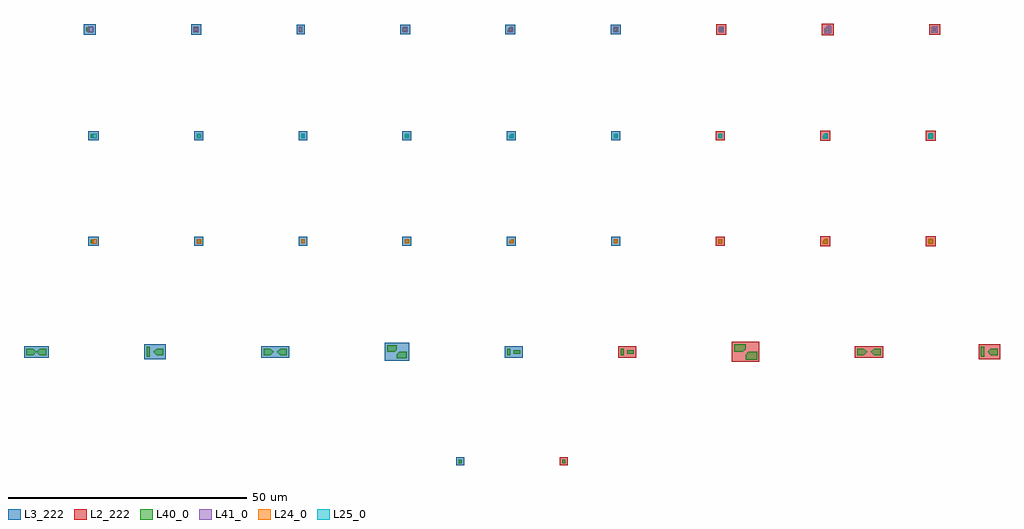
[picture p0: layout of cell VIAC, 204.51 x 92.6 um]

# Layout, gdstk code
from math import pi, radians
import gdstk
lib = gdstk.Library(unit=1e-6, precision=5e-09)
def R(c, l, rs):  # rectangles x0, y0, x1, y1
    for r in rs: c.add(gdstk.rectangle(r[:2], r[2:], *l))
def P(c, l, *ps):  # polygons
    for p in ps: c.add(gdstk.Polygon(p, *l))
L2_222 = (2, 222)
L3_222 = (3, 222)
L24_0 = (24, 0)
L25_0 = (25, 0)
L40_0 = (40, 0)
L41_0 = (41, 0)

compass_layerviac_size0p = lib.new_cell('compass_layerVIAC_size0p7__0p7')
R(compass_layerviac_size0p, L40_0, [(-0.35,-0.35,0.35,0.35)])

rectangle_layerviac_size = lib.new_cell('rectangle_layerVIAC_size0p7__0p7')
rectangle_layerviac_size.add(gdstk.Reference(compass_layerviac_size0p, (0.35,0.35)))

compass_b2efa8bb = lib.new_cell('compass_b2efa8bb')
R(compass_b2efa8bb, L2_222, [(-0.85,-0.85,0.85,0.85)])

rectangle_b2efa8bb = lib.new_cell('rectangle_b2efa8bb')
rectangle_b2efa8bb.add(gdstk.Reference(compass_b2efa8bb, (0.85,0.85)))

pass_fail_mk_ebea3c19 = lib.new_cell('pass_fail_mk_ebea3c19')
pass_fail_mk_ebea3c19.add(gdstk.Reference(rectangle_b2efa8bb, (-0.5,-0.5)))
pass_fail_mk_ebea3c19.add(gdstk.Label('viac.w.1', (-0.25,-0.25), layer=11, texttype=222))

c_compass_layerviac_size0p = lib.new_cell('compass_layerVIAC_size0p69__0p69')
R(c_compass_layerviac_size0p, L40_0, [(-0.345,-0.345,0.345,0.345)])

c_rectangle_layerviac_size = lib.new_cell('rectangle_layerVIAC_size0p69__0p69')
c_rectangle_layerviac_size.add(gdstk.Reference(c_compass_layerviac_size0p, (0.345,0.345)))

compass_bd24d7c0 = lib.new_cell('compass_bd24d7c0')
R(compass_bd24d7c0, L3_222, [(-0.845,-0.845,0.845,0.845)])

rectangle_bd24d7c0 = lib.new_cell('rectangle_bd24d7c0')
rectangle_bd24d7c0.add(gdstk.Reference(compass_bd24d7c0, (0.845,0.845)))

pass_fail_mk_7fd067dc = lib.new_cell('pass_fail_mk_7fd067dc')
pass_fail_mk_7fd067dc.add(gdstk.Reference(rectangle_bd24d7c0, (-0.5,-0.5)))
pass_fail_mk_7fd067dc.add(gdstk.Label('viac.w.1', (-0.25,-0.25), layer=11, texttype=222))

size_patterns_width0_7_l = lib.new_cell('size_patterns_width0.7_layerVIAC')
size_patterns_width0_7_l.add(gdstk.Reference(rectangle_layerviac_size, (0,0)))
size_patterns_width0_7_l.add(gdstk.Reference(pass_fail_mk_ebea3c19, (0,0)))
size_patterns_width0_7_l.add(gdstk.Reference(c_rectangle_layerviac_size, (-21.69,0.005)))
size_patterns_width0_7_l.add(gdstk.Reference(pass_fail_mk_7fd067dc, (-21.69,0.005)))

c_compass_layerviac_size0p_ = lib.new_cell('compass_layerVIAC_size0p7__1p4')
R(c_compass_layerviac_size0p_, L40_0, [(-0.35,-0.7,0.35,0.7)])

c_rectangle_layerviac_size_ = lib.new_cell('rectangle_layerVIAC_size0p7__1p4')
c_rectangle_layerviac_size_.add(gdstk.Reference(c_compass_layerviac_size0p_, (0.35,0.7)))

compass_layerviac_size1p = lib.new_cell('compass_layerVIAC_size1p4__0p7')
R(compass_layerviac_size1p, L40_0, [(-0.7,-0.35,0.7,0.35)])

c_rectangle_layerviac_size__ = lib.new_cell('rectangle_layerVIAC_size1p4__0p7')
c_rectangle_layerviac_size__.add(gdstk.Reference(compass_layerviac_size1p, (0.7,0.35)))

space_basic_spacing0_7_l = lib.new_cell('space_basic_spacing0.7_layer1VIAC_layer2VIAC')
space_basic_spacing0_7_l.add(gdstk.Reference(c_rectangle_layerviac_size_, (-0.7,1.05), rotation=pi))
space_basic_spacing0_7_l.add(gdstk.Reference(c_rectangle_layerviac_size__, (0,0)))

compass_77408f74 = lib.new_cell('compass_77408f74')
R(compass_77408f74, L2_222, [(-1.9,-1.2,1.9,1.2)])

rectangle_77408f74 = lib.new_cell('rectangle_77408f74')
rectangle_77408f74.add(gdstk.Reference(compass_77408f74, (1.9,1.2)))

pass_fail_mk_cfa4f222 = lib.new_cell('pass_fail_mk_cfa4f222')
pass_fail_mk_cfa4f222.add(gdstk.Reference(rectangle_77408f74, (-1.9,-0.85)))
pass_fail_mk_cfa4f222.add(gdstk.Label('viac.s.1', (-1.65,-0.6), layer=11, texttype=222))

space_basic_spacing0_69_ = lib.new_cell('space_basic_spacing0.69_layer1VIAC_layer2VIAC')
space_basic_spacing0_69_.add(gdstk.Reference(c_rectangle_layerviac_size_, (-0.69,1.05), rotation=pi))
space_basic_spacing0_69_.add(gdstk.Reference(c_rectangle_layerviac_size__, (0,0)))

compass_235e8b68 = lib.new_cell('compass_235e8b68')
R(compass_235e8b68, L3_222, [(-1.895,-1.2,1.895,1.2)])

rectangle_235e8b68 = lib.new_cell('rectangle_235e8b68')
rectangle_235e8b68.add(gdstk.Reference(compass_235e8b68, (1.895,1.2)))

pass_fail_mk_d93f7e09 = lib.new_cell('pass_fail_mk_d93f7e09')
pass_fail_mk_d93f7e09.add(gdstk.Reference(rectangle_235e8b68, (-1.89,-0.85)))
pass_fail_mk_d93f7e09.add(gdstk.Label('viac.s.1', (-1.64,-0.6), layer=11, texttype=222))

boolean_4434b073 = lib.new_cell('boolean_4434b073')
P(boolean_4434b073, L40_0, [(2.4,1.6),(0.57,1.6),(0,1.035),(0,0),(2.4,0)])

space_45deg_spacing0_799 = lib.new_cell('space_45deg_spacing0.7999999999999999_layer1VIAC_layer2VIAC')
space_45deg_spacing0_799.add(gdstk.Reference(boolean_4434b073, (0,0)))
space_45deg_spacing0_799.add(gdstk.Reference(boolean_4434b073, (0,3.2), rotation=pi))

compass_ca9d0b4a = lib.new_cell('compass_ca9d0b4a')
R(compass_ca9d0b4a, L2_222, [(-2.9,-2.1,2.9,2.1)])

rectangle_ca9d0b4a = lib.new_cell('rectangle_ca9d0b4a')
rectangle_ca9d0b4a.add(gdstk.Reference(compass_ca9d0b4a, (2.9,2.1)))

pass_fail_mk_ae6cd1d0 = lib.new_cell('pass_fail_mk_ae6cd1d0')
pass_fail_mk_ae6cd1d0.add(gdstk.Reference(rectangle_ca9d0b4a, (-2.9,-0.5)))
pass_fail_mk_ae6cd1d0.add(gdstk.Label('viac.s.1', (-2.65,-0.25), layer=11, texttype=222))

boolean_fdc49324 = lib.new_cell('boolean_fdc49324')
P(boolean_fdc49324, L40_0, [(2.07,1.38),(0.49,1.38),(0,0.89),(0,0),(2.07,0)])

space_45deg_spacing0_69_ = lib.new_cell('space_45deg_spacing0.69_layer1VIAC_layer2VIAC')
space_45deg_spacing0_69_.add(gdstk.Reference(boolean_fdc49324, (0,0)))
space_45deg_spacing0_69_.add(gdstk.Reference(boolean_fdc49324, (0,2.76), rotation=pi))

compass_da3c626a = lib.new_cell('compass_da3c626a')
R(compass_da3c626a, L3_222, [(-2.57,-1.88,2.57,1.88)])

rectangle_da3c626a = lib.new_cell('rectangle_da3c626a')
rectangle_da3c626a.add(gdstk.Reference(compass_da3c626a, (2.57,1.88)))

pass_fail_mk_e60b67cf = lib.new_cell('pass_fail_mk_e60b67cf')
pass_fail_mk_e60b67cf.add(gdstk.Reference(rectangle_da3c626a, (-2.57,-0.5)))
pass_fail_mk_e60b67cf.add(gdstk.Label('viac.s.1', (-2.32,-0.25), layer=11, texttype=222))

boolean_fcddbcaa = lib.new_cell('boolean_fcddbcaa')
P(boolean_fcddbcaa, L40_0, [(0,0),(1.4,0),(1.4,1.4),(0,1.4),(-0.7,0.7)])

boolean_cd065b2d = lib.new_cell('boolean_cd065b2d')
P(boolean_cd065b2d, L40_0, [(1.4,1.4),(0,1.4),(-0.7,0.7),(0,0),(1.4,0)])

space_cor2cor_spacing0_7 = lib.new_cell('space_cor2cor_spacing0.7_layer1VIAC_layer2VIAC')
space_cor2cor_spacing0_7.add(gdstk.Reference(boolean_fcddbcaa, (0,0)))
space_cor2cor_spacing0_7.add(gdstk.Reference(boolean_cd065b2d, (-2.1,1.4), rotation=pi))

compass_ff052847 = lib.new_cell('compass_ff052847')
R(compass_ff052847, L2_222, [(-2.95,-1.2,2.95,1.2)])

rectangle_ff052847 = lib.new_cell('rectangle_ff052847')
rectangle_ff052847.add(gdstk.Reference(compass_ff052847, (2.95,1.2)))

pass_fail_mk_f10998c5 = lib.new_cell('pass_fail_mk_f10998c5')
pass_fail_mk_f10998c5.add(gdstk.Reference(rectangle_ff052847, (-4,-0.5)))
pass_fail_mk_f10998c5.add(gdstk.Label('viac.s.1', (-3.75,-0.25), layer=11, texttype=222))

space_cor2cor_spacing0_6 = lib.new_cell('space_cor2cor_spacing0.69_layer1VIAC_layer2VIAC')
space_cor2cor_spacing0_6.add(gdstk.Reference(boolean_fcddbcaa, (0,0)))
space_cor2cor_spacing0_6.add(gdstk.Reference(boolean_cd065b2d, (-2.09,1.4), rotation=pi))

compass_60b5a301 = lib.new_cell('compass_60b5a301')
R(compass_60b5a301, L3_222, [(-2.945,-1.2,2.945,1.2)])

rectangle_60b5a301 = lib.new_cell('rectangle_60b5a301')
rectangle_60b5a301.add(gdstk.Reference(compass_60b5a301, (2.945,1.2)))

pass_fail_mk_9f2d06e3 = lib.new_cell('pass_fail_mk_9f2d06e3')
pass_fail_mk_9f2d06e3.add(gdstk.Reference(rectangle_60b5a301, (-3.99,-0.5)))
pass_fail_mk_9f2d06e3.add(gdstk.Label('viac.s.1', (-3.74,-0.25), layer=11, texttype=222))

c_compass_layerviac_size0p__ = lib.new_cell('compass_layerVIAC_size0p7__2p1')
R(c_compass_layerviac_size0p__, L40_0, [(-0.35,-1.05,0.35,1.05)])

c_rectangle_layerviac_size___ = lib.new_cell('rectangle_layerVIAC_size0p7__2p1')
c_rectangle_layerviac_size___.add(gdstk.Reference(c_compass_layerviac_size0p__, (0.35,1.05)))

space_cor2edge_spacing0_ = lib.new_cell('space_cor2edge_spacing0.7_layer1VIAC_layer2VIAC')
space_cor2edge_spacing0_.add(gdstk.Reference(c_rectangle_layerviac_size___, (-2.1,-0.35)))
space_cor2edge_spacing0_.add(gdstk.Reference(boolean_fcddbcaa, (0,0)))

compass_0f98536f = lib.new_cell('compass_0f98536f')
R(compass_0f98536f, L2_222, [(-2.25,-1.55,2.25,1.55)])

rectangle_0f98536f = lib.new_cell('rectangle_0f98536f')
rectangle_0f98536f.add(gdstk.Reference(compass_0f98536f, (2.25,1.55)))

pass_fail_mk_66edea5b = lib.new_cell('pass_fail_mk_66edea5b')
pass_fail_mk_66edea5b.add(gdstk.Reference(rectangle_0f98536f, (-2.6,-0.85)))
pass_fail_mk_66edea5b.add(gdstk.Label('viac.s.1', (-2.35,-0.6), layer=11, texttype=222))

c_space_cor2edge_spacing0_ = lib.new_cell('space_cor2edge_spacing0.69_layer1VIAC_layer2VIAC')
c_space_cor2edge_spacing0_.add(gdstk.Reference(c_rectangle_layerviac_size___, (-2.09,-0.35)))
c_space_cor2edge_spacing0_.add(gdstk.Reference(boolean_fcddbcaa, (0,0)))

compass_382587ec = lib.new_cell('compass_382587ec')
R(compass_382587ec, L3_222, [(-2.245,-1.55,2.245,1.55)])

rectangle_382587ec = lib.new_cell('rectangle_382587ec')
rectangle_382587ec.add(gdstk.Reference(compass_382587ec, (2.245,1.55)))

pass_fail_mk_0a4b3fec = lib.new_cell('pass_fail_mk_0a4b3fec')
pass_fail_mk_0a4b3fec.add(gdstk.Reference(rectangle_382587ec, (-2.59,-0.85)))
pass_fail_mk_0a4b3fec.add(gdstk.Label('viac.s.1', (-2.34,-0.6), layer=11, texttype=222))

space_singular_layer1via = lib.new_cell('space_singular_layer1VIAC_layer2VIAC')
space_singular_layer1via.add(gdstk.Reference(boolean_fcddbcaa, (0,0)))
space_singular_layer1via.add(gdstk.Reference(boolean_fcddbcaa, (-1.4,1.4), rotation=pi))

compass_ae880962 = lib.new_cell('compass_ae880962')
R(compass_ae880962, L3_222, [(-2.6,-1.2,2.6,1.2)])

rectangle_ae880962 = lib.new_cell('rectangle_ae880962')
rectangle_ae880962.add(gdstk.Reference(compass_ae880962, (2.6,1.2)))

pass_fail_mk_2d45b96f = lib.new_cell('pass_fail_mk_2d45b96f')
pass_fail_mk_2d45b96f.add(gdstk.Reference(rectangle_ae880962, (-3.3,-0.5)))
pass_fail_mk_2d45b96f.add(gdstk.Label('viac.s.1', (-3.05,-0.25), layer=11, texttype=222))

space_patterns_width0_7_ = lib.new_cell('space_patterns_width0.7_layer1VIAC_layer2VIAC')
space_patterns_width0_7_.add(gdstk.Reference(space_basic_spacing0_7_l, (0,0)))
space_patterns_width0_7_.add(gdstk.Reference(pass_fail_mk_cfa4f222, (0,0)))
space_patterns_width0_7_.add(gdstk.Reference(space_basic_spacing0_69_, (-23.8,0)))
space_patterns_width0_7_.add(gdstk.Reference(pass_fail_mk_d93f7e09, (-23.8,0)))
space_patterns_width0_7_.add(gdstk.Reference(space_45deg_spacing0_799, (24.8,-1.25)))
space_patterns_width0_7_.add(gdstk.Reference(pass_fail_mk_ae6cd1d0, (24.8,-1.25)))
space_patterns_width0_7_.add(gdstk.Reference(space_45deg_spacing0_69_, (-48.26,-1.03)))
space_patterns_width0_7_.add(gdstk.Reference(pass_fail_mk_e60b67cf, (-48.26,-1.03)))
space_patterns_width0_7_.add(gdstk.Reference(space_cor2cor_spacing0_7, (51.7,-0.35)))
space_patterns_width0_7_.add(gdstk.Reference(pass_fail_mk_f10998c5, (51.7,-0.35)))
space_patterns_width0_7_.add(gdstk.Reference(space_cor2cor_spacing0_6, (-72.73,-0.35)))
space_patterns_width0_7_.add(gdstk.Reference(pass_fail_mk_9f2d06e3, (-72.73,-0.35)))
space_patterns_width0_7_.add(gdstk.Reference(space_cor2edge_spacing0_, (76.2,-0.35)))
space_patterns_width0_7_.add(gdstk.Reference(pass_fail_mk_66edea5b, (76.2,-0.35)))
space_patterns_width0_7_.add(gdstk.Reference(c_space_cor2edge_spacing0_, (-98.62,-0.35)))
space_patterns_width0_7_.add(gdstk.Reference(pass_fail_mk_0a4b3fec, (-98.62,-0.35)))
space_patterns_width0_7_.add(gdstk.Reference(space_singular_layer1via, (-123.11,-0.35)))
space_patterns_width0_7_.add(gdstk.Reference(pass_fail_mk_2d45b96f, (-123.11,-0.35)))

compass_layernpp_size0p9 = lib.new_cell('compass_layerNPP_size0p9__0p9')
R(compass_layernpp_size0p9, L24_0, [(-0.45,-0.45,0.45,0.45)])

rectangle_layernpp_size0 = lib.new_cell('rectangle_layerNPP_size0p9__0p9')
rectangle_layernpp_size0.add(gdstk.Reference(compass_layernpp_size0p9, (0.45,0.45)))

enclose_basic_enc0_1_wid = lib.new_cell('enclose_basic_enc0.1_width0.7_layer_VIAC_enc_layerNPP')
enclose_basic_enc0_1_wid.add(gdstk.Reference(rectangle_layerviac_size, (0,0)))
enclose_basic_enc0_1_wid.add(gdstk.Reference(rectangle_layernpp_size0, (-0.1,-0.1)))

compass_8c9a630a = lib.new_cell('compass_8c9a630a')
R(compass_8c9a630a, L2_222, [(-0.95,-0.95,0.95,0.95)])

rectangle_8c9a630a = lib.new_cell('rectangle_8c9a630a')
rectangle_8c9a630a.add(gdstk.Reference(compass_8c9a630a, (0.95,0.95)))

pass_fail_mk_aee869b8 = lib.new_cell('pass_fail_mk_aee869b8')
pass_fail_mk_aee869b8.add(gdstk.Reference(rectangle_8c9a630a, (-0.6,-0.6)))
pass_fail_mk_aee869b8.add(gdstk.Label('viac.en.1', (-0.35,-0.35), layer=11, texttype=222))

compass_layernpp_size0p8 = lib.new_cell('compass_layerNPP_size0p88__0p88')
R(compass_layernpp_size0p8, L24_0, [(-0.44,-0.44,0.44,0.44)])

c_rectangle_layernpp_size0 = lib.new_cell('rectangle_layerNPP_size0p88__0p88')
c_rectangle_layernpp_size0.add(gdstk.Reference(compass_layernpp_size0p8, (0.44,0.44)))

enclose_basic_enc0_09000 = lib.new_cell('enclose_basic_enc0.09000000000000001_width0.7_layer_VIAC_enc_layerNPP')
enclose_basic_enc0_09000.add(gdstk.Reference(rectangle_layerviac_size, (0,0)))
enclose_basic_enc0_09000.add(gdstk.Reference(c_rectangle_layernpp_size0, (-0.09,-0.09)))

compass_d79c37dd = lib.new_cell('compass_d79c37dd')
R(compass_d79c37dd, L3_222, [(-0.94,-0.94,0.94,0.94)])

rectangle_d79c37dd = lib.new_cell('rectangle_d79c37dd')
rectangle_d79c37dd.add(gdstk.Reference(compass_d79c37dd, (0.94,0.94)))

pass_fail_mk_2c482e7b = lib.new_cell('pass_fail_mk_2c482e7b')
pass_fail_mk_2c482e7b.add(gdstk.Reference(rectangle_d79c37dd, (-0.59,-0.59)))
pass_fail_mk_2c482e7b.add(gdstk.Label('viac.en.1', (-0.34,-0.34), layer=11, texttype=222))

boolean_18af2746 = lib.new_cell('boolean_18af2746')
P(boolean_18af2746, L40_0, [(0.7,0.7),(0.25,0.7),(0,0.455),(0,0),(0.7,0)])

boolean_c79b226c = lib.new_cell('boolean_c79b226c')
P(boolean_c79b226c, L24_0, [(0.9,0.9),(0.28,0.9),(-0.2,0.42),(-0.2,-0.2),(0.9,-0.2)])

enclose_45deg_enc0_2_wid = lib.new_cell('enclose_45deg_enc0.2_width0.7_layer_VIAC_enc_layerNPP')
enclose_45deg_enc0_2_wid.add(gdstk.Reference(boolean_18af2746, (0,0)))
enclose_45deg_enc0_2_wid.add(gdstk.Reference(boolean_c79b226c, (0,0)))

compass_4d9544ad = lib.new_cell('compass_4d9544ad')
R(compass_4d9544ad, L2_222, [(-1.05,-1.05,1.05,1.05)])

rectangle_4d9544ad = lib.new_cell('rectangle_4d9544ad')
rectangle_4d9544ad.add(gdstk.Reference(compass_4d9544ad, (1.05,1.05)))

pass_fail_mk_4a227442 = lib.new_cell('pass_fail_mk_4a227442')
pass_fail_mk_4a227442.add(gdstk.Reference(rectangle_4d9544ad, (-0.7,-0.7)))
pass_fail_mk_4a227442.add(gdstk.Label('viac.en.1', (-0.45,-0.45), layer=11, texttype=222))

boolean_5ffc073f = lib.new_cell('boolean_5ffc073f')
P(boolean_5ffc073f, L24_0, [(0.79,0.79),(0.32,0.79),(-0.09,0.38),(-0.09,-0.09),(0.79,-0.09)])

enclose_45deg_enc0_09000 = lib.new_cell('enclose_45deg_enc0.09000000000000001_width0.7_layer_VIAC_enc_layerNPP')
enclose_45deg_enc0_09000.add(gdstk.Reference(boolean_18af2746, (0,0)))
enclose_45deg_enc0_09000.add(gdstk.Reference(boolean_5ffc073f, (0,0)))

pass_fail_mk_081a262d = lib.new_cell('pass_fail_mk_081a262d')
pass_fail_mk_081a262d.add(gdstk.Reference(rectangle_d79c37dd, (-0.59,-0.59)))
pass_fail_mk_081a262d.add(gdstk.Label('viac.en.1', (-0.34,-0.34), layer=11, texttype=222))

boolean_754cd725 = lib.new_cell('boolean_754cd725')
P(boolean_754cd725, L24_0, [(0.9,0.9),(-0.085,0.9),(-0.2,0.785),(-0.2,-0.2),(0.9,-0.2)])

enclose_cor2edge_enc0_2_ = lib.new_cell('enclose_cor2edge_enc0.2_width0.7_layer_VIAC_enc_layerNPP')
enclose_cor2edge_enc0_2_.add(gdstk.Reference(rectangle_layerviac_size, (0,0)))
enclose_cor2edge_enc0_2_.add(gdstk.Reference(boolean_754cd725, (0,0)))

pass_fail_mk_80a55dab = lib.new_cell('pass_fail_mk_80a55dab')
pass_fail_mk_80a55dab.add(gdstk.Reference(rectangle_4d9544ad, (-0.7,-0.7)))
pass_fail_mk_80a55dab.add(gdstk.Label('viac.en.1', (-0.45,-0.45), layer=11, texttype=222))

boolean_a0e5ba18 = lib.new_cell('boolean_a0e5ba18')
P(boolean_a0e5ba18, L24_0, [(0.79,0.79),(-0.04,0.79),(-0.09,0.74),(-0.09,-0.09),(0.79,-0.09)])

enclose_cor2edge_enc0_09 = lib.new_cell('enclose_cor2edge_enc0.09000000000000001_width0.7_layer_VIAC_enc_layerNPP')
enclose_cor2edge_enc0_09.add(gdstk.Reference(rectangle_layerviac_size, (0,0)))
enclose_cor2edge_enc0_09.add(gdstk.Reference(boolean_a0e5ba18, (0,0)))

pass_fail_mk_58b2a91b = lib.new_cell('pass_fail_mk_58b2a91b')
pass_fail_mk_58b2a91b.add(gdstk.Reference(rectangle_d79c37dd, (-0.59,-0.59)))
pass_fail_mk_58b2a91b.add(gdstk.Label('viac.en.1', (-0.34,-0.34), layer=11, texttype=222))

compass_layernpp_size0p7 = lib.new_cell('compass_layerNPP_size0p7__0p88')
R(compass_layernpp_size0p7, L24_0, [(-0.35,-0.44,0.35,0.44)])

c_rectangle_layernpp_size0_ = lib.new_cell('rectangle_layerNPP_size0p7__0p88')
c_rectangle_layernpp_size0_.add(gdstk.Reference(compass_layernpp_size0p7, (0.35,0.44)))

enclose_touch_enc0_09000 = lib.new_cell('enclose_touch_enc0.09000000000000001_width0.7_layer_VIAC_enc_layerNPP')
enclose_touch_enc0_09000.add(gdstk.Reference(rectangle_layerviac_size, (0,0)))
enclose_touch_enc0_09000.add(gdstk.Reference(c_rectangle_layernpp_size0_, (0,-0.09)))

compass_8237d080 = lib.new_cell('compass_8237d080')
R(compass_8237d080, L3_222, [(-0.85,-0.94,0.85,0.94)])

rectangle_8237d080 = lib.new_cell('rectangle_8237d080')
rectangle_8237d080.add(gdstk.Reference(compass_8237d080, (0.85,0.94)))

pass_fail_mk_f27a30eb = lib.new_cell('pass_fail_mk_f27a30eb')
pass_fail_mk_f27a30eb.add(gdstk.Reference(rectangle_8237d080, (-0.5,-0.59)))
pass_fail_mk_f27a30eb.add(gdstk.Label('viac.en.1', (-0.25,-0.34), layer=11, texttype=222))

boolean_851f2239 = lib.new_cell('boolean_851f2239')
P(boolean_851f2239, L24_0, [(0.8,0.8),(-0.1,0.8),(-0.1,0.09),(0.09,0.09),(0.09,0.61),(0.61,0.61),(0.61,0.09),(0.09,0.09),(-0.1,0.09),(-0.1,-0.1),(0.8,-0.1)])

enclose_hole_enc0_1_widt = lib.new_cell('enclose_hole_enc0.1_width0.7_layer_VIAC_enc_layerNPP')
enclose_hole_enc0_1_widt.add(gdstk.Reference(rectangle_layerviac_size, (0,0)))
enclose_hole_enc0_1_widt.add(gdstk.Reference(boolean_851f2239, (0,0)))

compass_35335814 = lib.new_cell('compass_35335814')
R(compass_35335814, L3_222, [(-0.95,-0.95,0.95,0.95)])

rectangle_35335814 = lib.new_cell('rectangle_35335814')
rectangle_35335814.add(gdstk.Reference(compass_35335814, (0.95,0.95)))

pass_fail_mk_9d625fc1 = lib.new_cell('pass_fail_mk_9d625fc1')
pass_fail_mk_9d625fc1.add(gdstk.Reference(rectangle_35335814, (-0.6,-0.6)))
pass_fail_mk_9d625fc1.add(gdstk.Label('viac.en.1', (-0.35,-0.35), layer=11, texttype=222))

enclose_intersect_enc0_1 = lib.new_cell('enclose_intersect_enc0.1_width0.7_layer_VIAC_enc_layerNPP')
enclose_intersect_enc0_1.add(gdstk.Reference(rectangle_layerviac_size, (-0.45,0)))
enclose_intersect_enc0_1.add(gdstk.Reference(rectangle_layernpp_size0, (-0.1,-0.1)))

compass_e21da134 = lib.new_cell('compass_e21da134')
R(compass_e21da134, L3_222, [(-1.125,-0.95,1.125,0.95)])

rectangle_e21da134 = lib.new_cell('rectangle_e21da134')
rectangle_e21da134.add(gdstk.Reference(compass_e21da134, (1.125,0.95)))

pass_fail_mk_87708334 = lib.new_cell('pass_fail_mk_87708334')
pass_fail_mk_87708334.add(gdstk.Reference(rectangle_e21da134, (-0.95,-0.6)))
pass_fail_mk_87708334.add(gdstk.Label('viac.en.1', (-0.7,-0.35), layer=11, texttype=222))

enclose_patterns_enclosu = lib.new_cell('enclose_patterns_enclosure0.1_width0.7_layerVIAC_enc_layerNPP')
enclose_patterns_enclosu.add(gdstk.Reference(enclose_basic_enc0_1_wid, (0,0)))
enclose_patterns_enclosu.add(gdstk.Reference(pass_fail_mk_aee869b8, (0,0)))
enclose_patterns_enclosu.add(gdstk.Reference(enclose_basic_enc0_09000, (-21.89,0)))
enclose_patterns_enclosu.add(gdstk.Reference(pass_fail_mk_2c482e7b, (-21.89,0)))
enclose_patterns_enclosu.add(gdstk.Reference(enclose_45deg_enc0_2_wid, (22,0)))
enclose_patterns_enclosu.add(gdstk.Reference(pass_fail_mk_4a227442, (22,0)))
enclose_patterns_enclosu.add(gdstk.Reference(enclose_45deg_enc0_09000, (-43.77,0)))
enclose_patterns_enclosu.add(gdstk.Reference(pass_fail_mk_081a262d, (-43.77,0)))
enclose_patterns_enclosu.add(gdstk.Reference(enclose_cor2edge_enc0_2_, (44.1,0)))
enclose_patterns_enclosu.add(gdstk.Reference(pass_fail_mk_80a55dab, (44.1,0)))
enclose_patterns_enclosu.add(gdstk.Reference(enclose_cor2edge_enc0_09, (-65.65,0)))
enclose_patterns_enclosu.add(gdstk.Reference(pass_fail_mk_58b2a91b, (-65.65,0)))
enclose_patterns_enclosu.add(gdstk.Reference(enclose_touch_enc0_09000, (-87.44,0)))
enclose_patterns_enclosu.add(gdstk.Reference(pass_fail_mk_f27a30eb, (-87.44,0)))
enclose_patterns_enclosu.add(gdstk.Reference(enclose_hole_enc0_1_widt, (-109.24,0)))
enclose_patterns_enclosu.add(gdstk.Reference(pass_fail_mk_9d625fc1, (-109.24,0)))
enclose_patterns_enclosu.add(gdstk.Reference(enclose_intersect_enc0_1, (-131.14,0)))
enclose_patterns_enclosu.add(gdstk.Reference(pass_fail_mk_87708334, (-131.14,0)))

compass_layerppp_size0p9 = lib.new_cell('compass_layerPPP_size0p9__0p9')
R(compass_layerppp_size0p9, L25_0, [(-0.45,-0.45,0.45,0.45)])

rectangle_layerppp_size0 = lib.new_cell('rectangle_layerPPP_size0p9__0p9')
rectangle_layerppp_size0.add(gdstk.Reference(compass_layerppp_size0p9, (0.45,0.45)))

c_enclose_basic_enc0_1_wid = lib.new_cell('enclose_basic_enc0.1_width0.7_layer_VIAC_enc_layerPPP')
c_enclose_basic_enc0_1_wid.add(gdstk.Reference(rectangle_layerviac_size, (0,0)))
c_enclose_basic_enc0_1_wid.add(gdstk.Reference(rectangle_layerppp_size0, (-0.1,-0.1)))

pass_fail_mk_5873ecce = lib.new_cell('pass_fail_mk_5873ecce')
pass_fail_mk_5873ecce.add(gdstk.Reference(rectangle_8c9a630a, (-0.6,-0.6)))
pass_fail_mk_5873ecce.add(gdstk.Label('viac.en.2', (-0.35,-0.35), layer=11, texttype=222))

compass_layerppp_size0p8 = lib.new_cell('compass_layerPPP_size0p88__0p88')
R(compass_layerppp_size0p8, L25_0, [(-0.44,-0.44,0.44,0.44)])

c_rectangle_layerppp_size0 = lib.new_cell('rectangle_layerPPP_size0p88__0p88')
c_rectangle_layerppp_size0.add(gdstk.Reference(compass_layerppp_size0p8, (0.44,0.44)))

c_enclose_basic_enc0_09000 = lib.new_cell('enclose_basic_enc0.09000000000000001_width0.7_layer_VIAC_enc_layerPPP')
c_enclose_basic_enc0_09000.add(gdstk.Reference(rectangle_layerviac_size, (0,0)))
c_enclose_basic_enc0_09000.add(gdstk.Reference(c_rectangle_layerppp_size0, (-0.09,-0.09)))

pass_fail_mk_2cc89124 = lib.new_cell('pass_fail_mk_2cc89124')
pass_fail_mk_2cc89124.add(gdstk.Reference(rectangle_d79c37dd, (-0.59,-0.59)))
pass_fail_mk_2cc89124.add(gdstk.Label('viac.en.2', (-0.34,-0.34), layer=11, texttype=222))

boolean_ab3f3a0e = lib.new_cell('boolean_ab3f3a0e')
P(boolean_ab3f3a0e, L25_0, [(0.9,0.9),(0.28,0.9),(-0.2,0.42),(-0.2,-0.2),(0.9,-0.2)])

c_enclose_45deg_enc0_2_wid = lib.new_cell('enclose_45deg_enc0.2_width0.7_layer_VIAC_enc_layerPPP')
c_enclose_45deg_enc0_2_wid.add(gdstk.Reference(boolean_18af2746, (0,0)))
c_enclose_45deg_enc0_2_wid.add(gdstk.Reference(boolean_ab3f3a0e, (0,0)))

pass_fail_mk_f409aede = lib.new_cell('pass_fail_mk_f409aede')
pass_fail_mk_f409aede.add(gdstk.Reference(rectangle_4d9544ad, (-0.7,-0.7)))
pass_fail_mk_f409aede.add(gdstk.Label('viac.en.2', (-0.45,-0.45), layer=11, texttype=222))

boolean_e3aaf00d = lib.new_cell('boolean_e3aaf00d')
P(boolean_e3aaf00d, L25_0, [(0.79,0.79),(0.32,0.79),(-0.09,0.38),(-0.09,-0.09),(0.79,-0.09)])

c_enclose_45deg_enc0_09000 = lib.new_cell('enclose_45deg_enc0.09000000000000001_width0.7_layer_VIAC_enc_layerPPP')
c_enclose_45deg_enc0_09000.add(gdstk.Reference(boolean_18af2746, (0,0)))
c_enclose_45deg_enc0_09000.add(gdstk.Reference(boolean_e3aaf00d, (0,0)))

pass_fail_mk_0391088d = lib.new_cell('pass_fail_mk_0391088d')
pass_fail_mk_0391088d.add(gdstk.Reference(rectangle_d79c37dd, (-0.59,-0.59)))
pass_fail_mk_0391088d.add(gdstk.Label('viac.en.2', (-0.34,-0.34), layer=11, texttype=222))

boolean_36934c4f = lib.new_cell('boolean_36934c4f')
P(boolean_36934c4f, L25_0, [(0.9,0.9),(-0.085,0.9),(-0.2,0.785),(-0.2,-0.2),(0.9,-0.2)])

c_enclose_cor2edge_enc0_2_ = lib.new_cell('enclose_cor2edge_enc0.2_width0.7_layer_VIAC_enc_layerPPP')
c_enclose_cor2edge_enc0_2_.add(gdstk.Reference(rectangle_layerviac_size, (0,0)))
c_enclose_cor2edge_enc0_2_.add(gdstk.Reference(boolean_36934c4f, (0,0)))

pass_fail_mk_66b18204 = lib.new_cell('pass_fail_mk_66b18204')
pass_fail_mk_66b18204.add(gdstk.Reference(rectangle_4d9544ad, (-0.7,-0.7)))
pass_fail_mk_66b18204.add(gdstk.Label('viac.en.2', (-0.45,-0.45), layer=11, texttype=222))

boolean_dd6e0e84 = lib.new_cell('boolean_dd6e0e84')
P(boolean_dd6e0e84, L25_0, [(0.79,0.79),(-0.04,0.79),(-0.09,0.74),(-0.09,-0.09),(0.79,-0.09)])

c_enclose_cor2edge_enc0_09 = lib.new_cell('enclose_cor2edge_enc0.09000000000000001_width0.7_layer_VIAC_enc_layerPPP')
c_enclose_cor2edge_enc0_09.add(gdstk.Reference(rectangle_layerviac_size, (0,0)))
c_enclose_cor2edge_enc0_09.add(gdstk.Reference(boolean_dd6e0e84, (0,0)))

pass_fail_mk_45283e08 = lib.new_cell('pass_fail_mk_45283e08')
pass_fail_mk_45283e08.add(gdstk.Reference(rectangle_d79c37dd, (-0.59,-0.59)))
pass_fail_mk_45283e08.add(gdstk.Label('viac.en.2', (-0.34,-0.34), layer=11, texttype=222))

compass_layerppp_size0p7 = lib.new_cell('compass_layerPPP_size0p7__0p88')
R(compass_layerppp_size0p7, L25_0, [(-0.35,-0.44,0.35,0.44)])

c_rectangle_layerppp_size0_ = lib.new_cell('rectangle_layerPPP_size0p7__0p88')
c_rectangle_layerppp_size0_.add(gdstk.Reference(compass_layerppp_size0p7, (0.35,0.44)))

c_enclose_touch_enc0_09000 = lib.new_cell('enclose_touch_enc0.09000000000000001_width0.7_layer_VIAC_enc_layerPPP')
c_enclose_touch_enc0_09000.add(gdstk.Reference(rectangle_layerviac_size, (0,0)))
c_enclose_touch_enc0_09000.add(gdstk.Reference(c_rectangle_layerppp_size0_, (0,-0.09)))

pass_fail_mk_2659bccc = lib.new_cell('pass_fail_mk_2659bccc')
pass_fail_mk_2659bccc.add(gdstk.Reference(rectangle_8237d080, (-0.5,-0.59)))
pass_fail_mk_2659bccc.add(gdstk.Label('viac.en.2', (-0.25,-0.34), layer=11, texttype=222))

boolean_456507a8 = lib.new_cell('boolean_456507a8')
P(boolean_456507a8, L25_0, [(0.8,0.8),(-0.1,0.8),(-0.1,0.09),(0.09,0.09),(0.09,0.61),(0.61,0.61),(0.61,0.09),(0.09,0.09),(-0.1,0.09),(-0.1,-0.1),(0.8,-0.1)])

c_enclose_hole_enc0_1_widt = lib.new_cell('enclose_hole_enc0.1_width0.7_layer_VIAC_enc_layerPPP')
c_enclose_hole_enc0_1_widt.add(gdstk.Reference(rectangle_layerviac_size, (0,0)))
c_enclose_hole_enc0_1_widt.add(gdstk.Reference(boolean_456507a8, (0,0)))

pass_fail_mk_80eefbe9 = lib.new_cell('pass_fail_mk_80eefbe9')
pass_fail_mk_80eefbe9.add(gdstk.Reference(rectangle_35335814, (-0.6,-0.6)))
pass_fail_mk_80eefbe9.add(gdstk.Label('viac.en.2', (-0.35,-0.35), layer=11, texttype=222))

c_enclose_intersect_enc0_1 = lib.new_cell('enclose_intersect_enc0.1_width0.7_layer_VIAC_enc_layerPPP')
c_enclose_intersect_enc0_1.add(gdstk.Reference(rectangle_layerviac_size, (-0.45,0)))
c_enclose_intersect_enc0_1.add(gdstk.Reference(rectangle_layerppp_size0, (-0.1,-0.1)))

pass_fail_mk_aeba3f25 = lib.new_cell('pass_fail_mk_aeba3f25')
pass_fail_mk_aeba3f25.add(gdstk.Reference(rectangle_e21da134, (-0.95,-0.6)))
pass_fail_mk_aeba3f25.add(gdstk.Label('viac.en.2', (-0.7,-0.35), layer=11, texttype=222))

c_enclose_patterns_enclosu = lib.new_cell('enclose_patterns_enclosure0.1_width0.7_layerVIAC_enc_layerPPP')
c_enclose_patterns_enclosu.add(gdstk.Reference(c_enclose_basic_enc0_1_wid, (0,0)))
c_enclose_patterns_enclosu.add(gdstk.Reference(pass_fail_mk_5873ecce, (0,0)))
c_enclose_patterns_enclosu.add(gdstk.Reference(c_enclose_basic_enc0_09000, (-21.89,0)))
c_enclose_patterns_enclosu.add(gdstk.Reference(pass_fail_mk_2cc89124, (-21.89,0)))
c_enclose_patterns_enclosu.add(gdstk.Reference(c_enclose_45deg_enc0_2_wid, (22,0)))
c_enclose_patterns_enclosu.add(gdstk.Reference(pass_fail_mk_f409aede, (22,0)))
c_enclose_patterns_enclosu.add(gdstk.Reference(c_enclose_45deg_enc0_09000, (-43.77,0)))
c_enclose_patterns_enclosu.add(gdstk.Reference(pass_fail_mk_0391088d, (-43.77,0)))
c_enclose_patterns_enclosu.add(gdstk.Reference(c_enclose_cor2edge_enc0_2_, (44.1,0)))
c_enclose_patterns_enclosu.add(gdstk.Reference(pass_fail_mk_66b18204, (44.1,0)))
c_enclose_patterns_enclosu.add(gdstk.Reference(c_enclose_cor2edge_enc0_09, (-65.65,0)))
c_enclose_patterns_enclosu.add(gdstk.Reference(pass_fail_mk_45283e08, (-65.65,0)))
c_enclose_patterns_enclosu.add(gdstk.Reference(c_enclose_touch_enc0_09000, (-87.44,0)))
c_enclose_patterns_enclosu.add(gdstk.Reference(pass_fail_mk_2659bccc, (-87.44,0)))
c_enclose_patterns_enclosu.add(gdstk.Reference(c_enclose_hole_enc0_1_widt, (-109.24,0)))
c_enclose_patterns_enclosu.add(gdstk.Reference(pass_fail_mk_80eefbe9, (-109.24,0)))
c_enclose_patterns_enclosu.add(gdstk.Reference(c_enclose_intersect_enc0_1, (-131.14,0)))
c_enclose_patterns_enclosu.add(gdstk.Reference(pass_fail_mk_aeba3f25, (-131.14,0)))

compass_layerm1_size1p1_ = lib.new_cell('compass_layerM1_size1p1__1p1')
R(compass_layerm1_size1p1_, L41_0, [(-0.55,-0.55,0.55,0.55)])

rectangle_layerm1_size1p = lib.new_cell('rectangle_layerM1_size1p1__1p1')
rectangle_layerm1_size1p.add(gdstk.Reference(compass_layerm1_size1p1_, (0.55,0.55)))

enclose_basic_enc0_2_wid = lib.new_cell('enclose_basic_enc0.2_width0.7_layer_VIAC_enc_layerM1')
enclose_basic_enc0_2_wid.add(gdstk.Reference(rectangle_layerviac_size, (0,0)))
enclose_basic_enc0_2_wid.add(gdstk.Reference(rectangle_layerm1_size1p, (-0.2,-0.2)))

pass_fail_mk_d0a59fb4 = lib.new_cell('pass_fail_mk_d0a59fb4')
pass_fail_mk_d0a59fb4.add(gdstk.Reference(rectangle_4d9544ad, (-0.7,-0.7)))
pass_fail_mk_d0a59fb4.add(gdstk.Label('viac.en.3', (-0.45,-0.45), layer=11, texttype=222))

compass_layerm1_size1p08 = lib.new_cell('compass_layerM1_size1p08__1p08')
R(compass_layerm1_size1p08, L41_0, [(-0.54,-0.54,0.54,0.54)])

c_rectangle_layerm1_size1p = lib.new_cell('rectangle_layerM1_size1p08__1p08')
c_rectangle_layerm1_size1p.add(gdstk.Reference(compass_layerm1_size1p08, (0.54,0.54)))

enclose_basic_enc0_19_wi = lib.new_cell('enclose_basic_enc0.19_width0.7_layer_VIAC_enc_layerM1')
enclose_basic_enc0_19_wi.add(gdstk.Reference(rectangle_layerviac_size, (0,0)))
enclose_basic_enc0_19_wi.add(gdstk.Reference(c_rectangle_layerm1_size1p, (-0.19,-0.19)))

compass_09d3e0af = lib.new_cell('compass_09d3e0af')
R(compass_09d3e0af, L3_222, [(-1.04,-1.04,1.04,1.04)])

rectangle_09d3e0af = lib.new_cell('rectangle_09d3e0af')
rectangle_09d3e0af.add(gdstk.Reference(compass_09d3e0af, (1.04,1.04)))

pass_fail_mk_163745b6 = lib.new_cell('pass_fail_mk_163745b6')
pass_fail_mk_163745b6.add(gdstk.Reference(rectangle_09d3e0af, (-0.69,-0.69)))
pass_fail_mk_163745b6.add(gdstk.Label('viac.en.3', (-0.44,-0.44), layer=11, texttype=222))

boolean_04932b49 = lib.new_cell('boolean_04932b49')
P(boolean_04932b49, L41_0, [(1.1,1.1),(0.21,1.1),(-0.4,0.49),(-0.4,-0.4),(1.1,-0.4)])

enclose_45deg_enc0_4_wid = lib.new_cell('enclose_45deg_enc0.4_width0.7_layer_VIAC_enc_layerM1')
enclose_45deg_enc0_4_wid.add(gdstk.Reference(boolean_18af2746, (0,0)))
enclose_45deg_enc0_4_wid.add(gdstk.Reference(boolean_04932b49, (0,0)))

compass_d4646f12 = lib.new_cell('compass_d4646f12')
R(compass_d4646f12, L2_222, [(-1.25,-1.25,1.25,1.25)])

rectangle_d4646f12 = lib.new_cell('rectangle_d4646f12')
rectangle_d4646f12.add(gdstk.Reference(compass_d4646f12, (1.25,1.25)))

pass_fail_mk_150438fb = lib.new_cell('pass_fail_mk_150438fb')
pass_fail_mk_150438fb.add(gdstk.Reference(rectangle_d4646f12, (-0.9,-0.9)))
pass_fail_mk_150438fb.add(gdstk.Label('viac.en.3', (-0.65,-0.65), layer=11, texttype=222))

boolean_8bc4c2ca = lib.new_cell('boolean_8bc4c2ca')
P(boolean_8bc4c2ca, L41_0, [(0.89,0.89),(0.285,0.89),(-0.19,0.415),(-0.19,-0.19),(0.89,-0.19)])

enclose_45deg_enc0_19_wi = lib.new_cell('enclose_45deg_enc0.19_width0.7_layer_VIAC_enc_layerM1')
enclose_45deg_enc0_19_wi.add(gdstk.Reference(boolean_18af2746, (0,0)))
enclose_45deg_enc0_19_wi.add(gdstk.Reference(boolean_8bc4c2ca, (0,0)))

pass_fail_mk_923427fe = lib.new_cell('pass_fail_mk_923427fe')
pass_fail_mk_923427fe.add(gdstk.Reference(rectangle_09d3e0af, (-0.69,-0.69)))
pass_fail_mk_923427fe.add(gdstk.Label('viac.en.3', (-0.44,-0.44), layer=11, texttype=222))

boolean_1a02ecaa = lib.new_cell('boolean_1a02ecaa')
P(boolean_1a02ecaa, L41_0, [(1,1),(-0.125,1),(-0.3,0.825),(-0.3,-0.3),(1,-0.3)])

enclose_cor2edge_enc0_30 = lib.new_cell('enclose_cor2edge_enc0.30000000000000004_width0.7_layer_VIAC_enc_layerM1')
enclose_cor2edge_enc0_30.add(gdstk.Reference(rectangle_layerviac_size, (0,0)))
enclose_cor2edge_enc0_30.add(gdstk.Reference(boolean_1a02ecaa, (0,0)))

compass_6398bd07 = lib.new_cell('compass_6398bd07')
R(compass_6398bd07, L2_222, [(-1.15,-1.15,1.15,1.15)])

rectangle_6398bd07 = lib.new_cell('rectangle_6398bd07')
rectangle_6398bd07.add(gdstk.Reference(compass_6398bd07, (1.15,1.15)))

pass_fail_mk_98618821 = lib.new_cell('pass_fail_mk_98618821')
pass_fail_mk_98618821.add(gdstk.Reference(rectangle_6398bd07, (-0.8,-0.8)))
pass_fail_mk_98618821.add(gdstk.Label('viac.en.3', (-0.55,-0.55), layer=11, texttype=222))

boolean_db17fe55 = lib.new_cell('boolean_db17fe55')
P(boolean_db17fe55, L41_0, [(0.89,0.89),(-0.08,0.89),(-0.19,0.78),(-0.19,-0.19),(0.89,-0.19)])

enclose_cor2edge_enc0_19 = lib.new_cell('enclose_cor2edge_enc0.19_width0.7_layer_VIAC_enc_layerM1')
enclose_cor2edge_enc0_19.add(gdstk.Reference(rectangle_layerviac_size, (0,0)))
enclose_cor2edge_enc0_19.add(gdstk.Reference(boolean_db17fe55, (0,0)))

pass_fail_mk_294e49b0 = lib.new_cell('pass_fail_mk_294e49b0')
pass_fail_mk_294e49b0.add(gdstk.Reference(rectangle_09d3e0af, (-0.69,-0.69)))
pass_fail_mk_294e49b0.add(gdstk.Label('viac.en.3', (-0.44,-0.44), layer=11, texttype=222))

compass_layerm1_size0p7_ = lib.new_cell('compass_layerM1_size0p7__1p08')
R(compass_layerm1_size0p7_, L41_0, [(-0.35,-0.54,0.35,0.54)])

rectangle_layerm1_size0p = lib.new_cell('rectangle_layerM1_size0p7__1p08')
rectangle_layerm1_size0p.add(gdstk.Reference(compass_layerm1_size0p7_, (0.35,0.54)))

enclose_touch_enc0_19_wi = lib.new_cell('enclose_touch_enc0.19_width0.7_layer_VIAC_enc_layerM1')
enclose_touch_enc0_19_wi.add(gdstk.Reference(rectangle_layerviac_size, (0,0)))
enclose_touch_enc0_19_wi.add(gdstk.Reference(rectangle_layerm1_size0p, (0,-0.19)))

compass_11993e2e = lib.new_cell('compass_11993e2e')
R(compass_11993e2e, L3_222, [(-0.85,-1.04,0.85,1.04)])

rectangle_11993e2e = lib.new_cell('rectangle_11993e2e')
rectangle_11993e2e.add(gdstk.Reference(compass_11993e2e, (0.85,1.04)))

pass_fail_mk_76c3fae9 = lib.new_cell('pass_fail_mk_76c3fae9')
pass_fail_mk_76c3fae9.add(gdstk.Reference(rectangle_11993e2e, (-0.5,-0.69)))
pass_fail_mk_76c3fae9.add(gdstk.Label('viac.en.3', (-0.25,-0.44), layer=11, texttype=222))

boolean_caddbb86 = lib.new_cell('boolean_caddbb86')
P(boolean_caddbb86, L41_0, [(0.9,0.9),(-0.2,0.9),(-0.2,0.09),(0.09,0.09),(0.09,0.61),(0.61,0.61),(0.61,0.09),(0.09,0.09),(-0.2,0.09),(-0.2,-0.2),(0.9,-0.2)])

enclose_hole_enc0_2_widt = lib.new_cell('enclose_hole_enc0.2_width0.7_layer_VIAC_enc_layerM1')
enclose_hole_enc0_2_widt.add(gdstk.Reference(rectangle_layerviac_size, (0,0)))
enclose_hole_enc0_2_widt.add(gdstk.Reference(boolean_caddbb86, (0,0)))

compass_68271b65 = lib.new_cell('compass_68271b65')
R(compass_68271b65, L3_222, [(-1.05,-1.05,1.05,1.05)])

rectangle_68271b65 = lib.new_cell('rectangle_68271b65')
rectangle_68271b65.add(gdstk.Reference(compass_68271b65, (1.05,1.05)))

pass_fail_mk_4120f66a = lib.new_cell('pass_fail_mk_4120f66a')
pass_fail_mk_4120f66a.add(gdstk.Reference(rectangle_68271b65, (-0.7,-0.7)))
pass_fail_mk_4120f66a.add(gdstk.Label('viac.en.3', (-0.45,-0.45), layer=11, texttype=222))

enclose_intersect_enc0_2 = lib.new_cell('enclose_intersect_enc0.2_width0.7_layer_VIAC_enc_layerM1')
enclose_intersect_enc0_2.add(gdstk.Reference(rectangle_layerviac_size, (-0.55,0)))
enclose_intersect_enc0_2.add(gdstk.Reference(rectangle_layerm1_size1p, (-0.2,-0.2)))

compass_78b57009 = lib.new_cell('compass_78b57009')
R(compass_78b57009, L3_222, [(-1.225,-1.05,1.225,1.05)])

rectangle_78b57009 = lib.new_cell('rectangle_78b57009')
rectangle_78b57009.add(gdstk.Reference(compass_78b57009, (1.225,1.05)))

pass_fail_mk_a76b5e66 = lib.new_cell('pass_fail_mk_a76b5e66')
pass_fail_mk_a76b5e66.add(gdstk.Reference(rectangle_78b57009, (-1.05,-0.7)))
pass_fail_mk_a76b5e66.add(gdstk.Label('viac.en.3', (-0.8,-0.45), layer=11, texttype=222))

c_enclose_patterns_enclosu_ = lib.new_cell('enclose_patterns_enclosure0.2_width0.7_layerVIAC_enc_layerM1')
c_enclose_patterns_enclosu_.add(gdstk.Reference(enclose_basic_enc0_2_wid, (0,0)))
c_enclose_patterns_enclosu_.add(gdstk.Reference(pass_fail_mk_d0a59fb4, (0,0)))
c_enclose_patterns_enclosu_.add(gdstk.Reference(enclose_basic_enc0_19_wi, (-22.09,0)))
c_enclose_patterns_enclosu_.add(gdstk.Reference(pass_fail_mk_163745b6, (-22.09,0)))
c_enclose_patterns_enclosu_.add(gdstk.Reference(enclose_45deg_enc0_4_wid, (22.3,0)))
c_enclose_patterns_enclosu_.add(gdstk.Reference(pass_fail_mk_150438fb, (22.3,0)))
c_enclose_patterns_enclosu_.add(gdstk.Reference(enclose_45deg_enc0_19_wi, (-44.17,0)))
c_enclose_patterns_enclosu_.add(gdstk.Reference(pass_fail_mk_923427fe, (-44.17,0)))
c_enclose_patterns_enclosu_.add(gdstk.Reference(enclose_cor2edge_enc0_30, (44.7,0)))
c_enclose_patterns_enclosu_.add(gdstk.Reference(pass_fail_mk_98618821, (44.7,0)))
c_enclose_patterns_enclosu_.add(gdstk.Reference(enclose_cor2edge_enc0_19, (-66.25,0)))
c_enclose_patterns_enclosu_.add(gdstk.Reference(pass_fail_mk_294e49b0, (-66.25,0)))
c_enclose_patterns_enclosu_.add(gdstk.Reference(enclose_touch_enc0_19_wi, (-88.14,0)))
c_enclose_patterns_enclosu_.add(gdstk.Reference(pass_fail_mk_76c3fae9, (-88.14,0)))
c_enclose_patterns_enclosu_.add(gdstk.Reference(enclose_hole_enc0_2_widt, (-110.04,0)))
c_enclose_patterns_enclosu_.add(gdstk.Reference(pass_fail_mk_4120f66a, (-110.04,0)))
c_enclose_patterns_enclosu_.add(gdstk.Reference(enclose_intersect_enc0_2, (-132.14,0)))
c_enclose_patterns_enclosu_.add(gdstk.Reference(pass_fail_mk_a76b5e66, (-132.14,0)))

viac = lib.new_cell('VIAC')
viac.add(gdstk.Reference(size_patterns_width0_7_l, (0,0)))
viac.add(gdstk.Reference(space_patterns_width0_7_, (13.66,22.95)))
viac.add(gdstk.Reference(enclose_patterns_enclosu, (32.8,46.1)))
viac.add(gdstk.Reference(c_enclose_patterns_enclosu, (32.8,68.2)))
viac.add(gdstk.Reference(c_enclose_patterns_enclosu_, (33,90.5)))

lib.write_gds('VIAC.gds')
